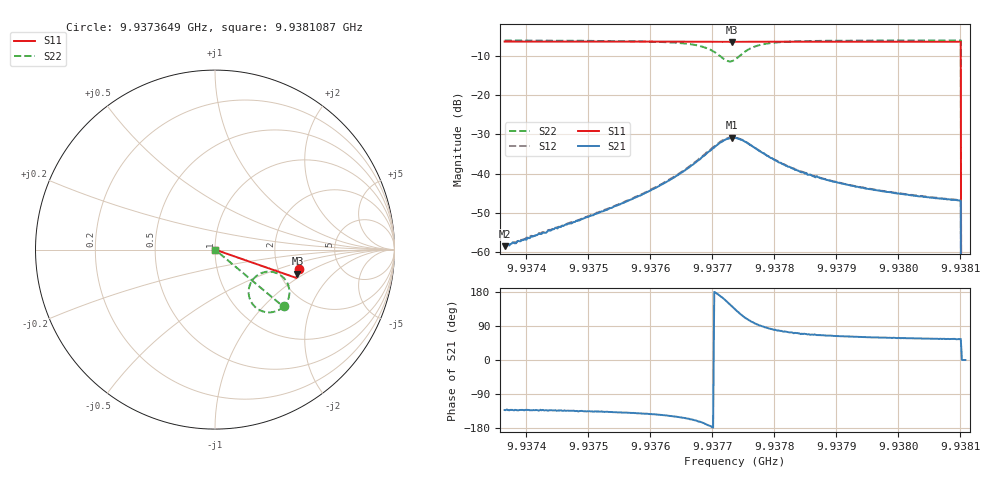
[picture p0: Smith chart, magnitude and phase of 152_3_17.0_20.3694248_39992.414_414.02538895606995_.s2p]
#  HZ  S  RI  R  50.00
! Rohde & Schwarz Vector Network Analyzer
! Rohde-Schwarz,ZNB20-2Port,1311601062101988,3.16
! Created: UTC 3/20/2024, 10:58:54 PM
! freq[Hz]  re:S11  im:S11  re:S21  im:S21  re:S12  im:S12  re:S22  im:S22
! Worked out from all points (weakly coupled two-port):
!   401 points, 9.9373649 GHz to 9.9381087 GHz, reference 50 ohm
!   highest |S21| = -30.84 dB at 9.9377312 GHz (marker M1); lowest = -58.5 dB at 9.9373649 GHz (marker M2)
!   lowest |S11| = -6.4 dB at 9.9377312 GHz (marker M3), VSWR 2.83, Z = 124 - j43 ohm
!   |S11| at or under -10 dB: 9.9381013 GHz to end of sweep
!   |S22| runs from - to -6.0 dB; largest |S21 - S12| = 0.0014
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9.93736494e9  0.4704 -0.1106  -0.000793 -0.000879  -0.000797 -0.00088  0.3845 -0.3153
9.93748951e9  0.4675 -0.1191  -0.00183 -0.00187  -0.00191 -0.00184  0.3688 -0.328
9.93755645e9  0.466 -0.1236  -0.00317 -0.00278  -0.00324 -0.00277  0.3539 -0.3371
9.93761409e9  0.4644 -0.1277  -0.00565 -0.00402  -0.0058 -0.00402  0.3295 -0.3462
9.93765499e9  0.4632 -0.1305  -0.00967 -0.00492  -0.00997 -0.00485  0.2939 -0.3496
9.93768846e9  0.4616 -0.1327  -0.0169 -0.00343  -0.0174 -0.00335  0.2358 -0.3293
9.93770148e9  0.4607 -0.1332  -0.0211 -0.000501  -0.0216 1.03e-05  0.2061 -0.2991
9.93771449e9  0.4599 -0.1335  -0.0245 0.00571  -0.0251 0.00671  0.1875 -0.2437
9.93772379e9  0.4595 -0.1332  -0.0248 0.0121  -0.0248 0.0134  0.1962 -0.1921
9.93773123e9  0.4593 -0.1332  -0.0228 0.0174  -0.0223 0.0184  0.2223 -0.1543
9.93773681e9  0.4597 -0.133  -0.0198 0.0204  -0.0193 0.0215  0.2502 -0.1345
9.9377461e9  0.46 -0.1331  -0.0137 0.0233  -0.013 0.024  0.302 -0.1226
9.93775912e9  0.4606 -0.1338  -0.00625 0.023  -0.00546 0.0233  0.3591 -0.1387
9.93777771e9  0.4608 -0.1354  -0.000294 0.0192  0.000365 0.0192  0.3994 -0.1794
9.93781304e9  0.4606 -0.1383  0.00321 0.0128  0.00347 0.0128  0.4149 -0.2345
9.93784093e9  0.4602 -0.1405  0.00363 0.01  0.00391 0.01  0.4127 -0.2585
9.93786138e9  0.4598 -0.142  0.00364 0.00863  0.00388 0.00857  0.4097 -0.2705
9.93792274e9  0.4582 -0.1461  0.00333 0.00621  0.0035 0.00619  0.4009 -0.2923
9.93798596e9  0.4565 -0.1505  0.00301 0.00493  0.00313 0.00491  0.3932 -0.3052
9.93809752e9  0.4536 -0.1578  0.00259 0.00371  0.00267 0.00375  0.3829 -0.319
9.93810682e9  0 0  0 0  0 0  0 0
9.93810868e9  0 0  0 0  0 0  0 0
